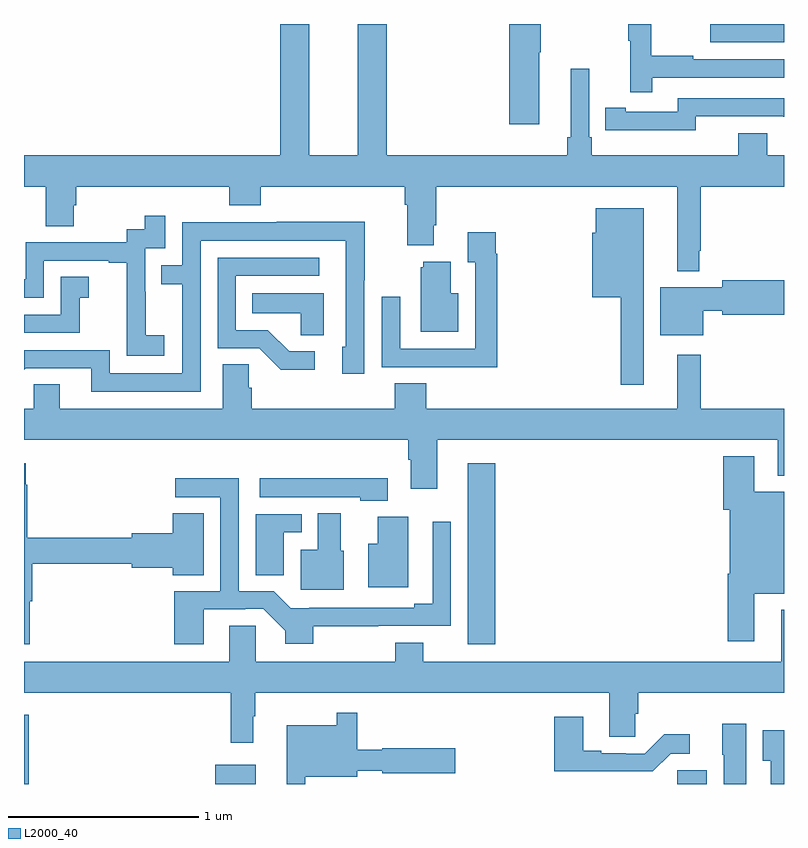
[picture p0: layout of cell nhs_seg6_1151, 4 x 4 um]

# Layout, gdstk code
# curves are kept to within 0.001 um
import gdstk
lib = gdstk.Library(unit=1e-6, precision=1e-09)
def R(c, l, rs):  # rectangles x0, y0, x1, y1
    for r in rs: c.add(gdstk.rectangle(r[:2], r[2:], *l))
def P(c, l, *ps):  # polygons
    for p in ps: c.add(gdstk.Polygon(p, *l))
L2000_40 = (2000, 40)

nhs_seg6_1151 = lib.new_cell('nhs_seg6_1151')
R(nhs_seg6_1151, L2000_40, [(181,969.5,181.024,969.865), (182.006,969.5,182.221,969.601), (184.438,969.5,184.594,969.573), (183.335,970.236,183.479,971.188), (184.611,973.403,185,973.5)])
P(nhs_seg6_1151, L2000_40, [(184.307,973.218),(185,973.218),(185,973.314),(184.523,973.314),(184.523,973.334),(184.3,973.334),(184.3,973.5),(184.179,973.5),(184.179,973.411),(184.19,973.411),(184.19,973.14),(184.307,973.14)],
  [(183.712,973.351),(183.72,973.351),(183.72,973.5),(183.554,973.5),(183.554,972.972),(183.712,972.972)],
  [(184.554,972.307),(184.561,972.307),(184.561,972.644),(185,972.644),(185,972.808),(184.913,972.808),(184.913,972.925),(184.76,972.925),(184.76,972.808),(183.989,972.808),(183.989,972.904),(183.975,972.904),(183.975,973.264),(183.878,973.264),(183.878,972.904),(183.859,972.904),(183.859,972.808),(182.909,972.808),(182.909,973.5),(182.756,973.5),(182.756,972.808),(182.5,972.808),(182.5,973.5),(182.348,973.5),(182.348,972.808),(181,972.808),(181,972.644),(181.114,972.644),(181.114,972.436),(181.261,972.436),(181.261,972.546),(181.274,972.546),(181.274,972.644),(182.081,972.644),(182.081,972.545),(182.246,972.545),(182.246,972.644),(183.005,972.644),(183.005,972.548),(183.017,972.548),(183.017,972.335),(183.157,972.335),(183.157,972.442),(183.17,972.442),(183.17,972.644),(184.439,972.644),(184.439,972.2),(184.554,972.2)],
  [(184.536,973.014),(184.996,973.014),(184.996,973.013),(185,973.013),(185,973.11),(184.44,973.11),(184.44,973.038),(184.168,973.038),(184.168,973.058),(184.06,973.058),(184.06,972.942),(184.168,972.942),(184.168,972.941),(184.536,972.941)],
  [(184.261,972.529),(184.01,972.529),(184.01,972.402),(183.992,972.402),(183.992,972.062),(184.14,972.062),(184.14,971.601),(184.261,971.601)],
  [(181.738,971.863),(181.64,971.863),(181.64,972.092),(181.638,972.092),(181.638,972.321),(181.743,972.321),(181.743,972.49),(181.635,972.49),(181.635,972.42),(181.542,972.42),(181.542,972.351),(181.008,972.351),(181.008,972.156),(181,972.156),(181,972.06),(181.104,972.06),(181.104,972.255),(181.445,972.255),(181.445,972.243),(181.541,972.243),(181.541,971.959),(181.54,971.959),(181.54,971.753),(181.738,971.753)],
  [(181.929,972.36),(182.694,972.36),(182.694,971.802),(182.675,971.802),(182.675,971.658),(182.79,971.658),(182.79,972.151),(182.793,972.151),(182.793,972.458),(182.329,972.458),(182.329,972.456),(181.833,972.456),(181.833,972.231),(181.723,972.231),(181.723,972.13),(181.833,972.13),(181.833,971.661),(181.452,971.661),(181.452,971.784),(181,971.784),(181,971.68),(181.008,971.688),(181.355,971.688),(181.355,971.565),(181.929,971.565)],
  [(183.491,972.29),(183.484,972.29),(183.484,972.403),(183.335,972.403),(183.335,972.247),(183.375,972.247),(183.375,971.79),(182.979,971.79),(182.979,972.064),(182.883,972.064),(182.883,971.694),(183.199,971.694),(183.199,971.693),(183.491,971.693)],
  [(182.53,971.778),(182.395,971.778),(182.284,971.889),(182.115,971.889),(182.115,972.174),(182.554,972.174),(182.554,972.27),(182.019,972.27),(182.019,971.793),(182.238,971.793),(182.351,971.681),(182.53,971.681)],
  [(183.286,972.082),(183.247,972.082),(183.247,972.25),(183.101,972.25),(183.101,972.219),(183.089,972.219),(183.089,971.879),(183.286,971.879)],
  [(181.293,972.059),(181.342,972.059),(181.342,972.169),(181.194,972.169),(181.194,971.97),(181,971.97),(181,971.874),(181.293,971.874)],
  [(184.576,971.992),(184.676,971.992),(184.676,971.969),(185,971.969),(185,972.152),(184.676,972.152),(184.676,972.115),(184.349,972.115),(184.349,971.861),(184.576,971.861)],
  [(182.578,972.082),(182.2,972.082),(182.2,971.978),(182.457,971.978),(182.457,971.863),(182.578,971.863)],
  [(183.175,971.312),(184.967,971.312),(184.967,971.122),(185,971.122),(185,971.476),(184.561,971.476),(184.561,971.758),(184.439,971.758),(184.439,971.476),(183.116,971.476),(183.116,971.609),(182.951,971.609),(182.951,971.476),(182.198,971.476),(182.198,971.585),(182.184,971.585),(182.184,971.708),(182.045,971.708),(182.045,971.476),(181.189,971.476),(181.189,971.603),(181.05,971.603),(181.05,971.476),(181,971.476),(181,971.312),(183.023,971.312),(183.023,971.206),(183.035,971.206),(183.035,971.055),(183.175,971.055)],
  [(184.843,970.502),(185,970.502),(185,971.037),(184.843,971.037),(184.843,971.224),(184.679,971.224),(184.679,970.944),(184.715,970.944),(184.715,970.606),(184.703,970.606),(184.703,970.251),(184.843,970.251)],
  [(181.03,970.461),(181.043,970.461),(181.043,970.66),(181.568,970.66),(181.568,970.637),(181.784,970.637),(181.784,970.6),(181.945,970.6),(181.945,970.925),(181.784,970.925),(181.784,970.82),(181.568,970.82),(181.568,970.796),(181.016,970.796),(181.016,971.075),(181.009,971.075),(181.009,971.188),(181,971.188),(181,970.235),(181.03,970.235)],
  [(182.914,971.11),(182.241,971.11),(182.241,971.009),(182.769,971.009),(182.769,970.991),(182.914,970.991)],
  [(181.945,970.419),(182.165,970.419),(182.165,970.422),(182.259,970.422),(182.375,970.306),(182.375,970.238),(182.523,970.238),(182.523,970.331),(183.246,970.332),(183.246,970.879),(183.15,970.879),(183.15,970.448),(183.053,970.448),(183.053,970.428),(182.5,970.428),(182.5,970.425),(182.404,970.425),(182.314,970.515),(182.13,970.515),(182.13,971.108),(181.797,971.108),(181.797,971.01),(182.034,971.01),(182.034,970.515),(181.79,970.515),(181.79,970.236),(181.945,970.236)],
  [(182.683,970.728),(182.668,970.728),(182.668,970.924),(182.546,970.924),(182.546,970.732),(182.456,970.732),(182.456,970.523),(182.683,970.523)],
  [(182.368,970.824),(182.461,970.824),(182.461,970.92),(182.219,970.92),(182.219,970.6),(182.368,970.6)],
  [(183.022,970.906),(182.861,970.906),(182.861,970.765),(182.813,970.765),(182.813,970.535),(183.022,970.535)],
  [(183.1,970.243),(182.953,970.243),(182.953,970.144),(182.22,970.144),(182.22,970.334),(182.081,970.334),(182.081,970.144),(181,970.144),(181,969.98),(182.089,969.98),(182.089,969.717),(182.206,969.717),(182.206,969.857),(182.218,969.857),(182.218,969.98),(184.079,969.98),(184.079,969.748),(184.218,969.748),(184.218,969.87),(184.232,969.87),(184.232,969.98),(185,969.98),(185,970.417),(184.985,970.417),(184.985,970.144),(183.1,970.144)],
  [(182.481,969.539),(182.755,969.539),(182.755,969.57),(182.886,969.57),(182.886,969.557),(183.271,969.557),(183.271,969.687),(182.886,969.687),(182.886,969.679),(182.755,969.679),(182.755,969.874),(182.646,969.874),(182.646,969.808),(182.384,969.808),(182.384,969.5),(182.481,969.5)],
  [(184.404,969.66),(184.504,969.66),(184.504,969.763),(184.369,969.763),(184.266,969.66),(184.166,969.66),(184.166,969.663),(184.039,969.663),(184.039,969.676),(183.943,969.676),(183.943,969.853),(183.791,969.853),(183.791,969.566),(184.309,969.566)],
  [(184.801,969.817),(184.676,969.817),(184.676,969.654),(184.682,969.654),(184.682,969.5),(184.801,969.5)],
  [(185,969.784),(184.889,969.784),(184.889,969.623),(184.929,969.623),(184.929,969.5),(185,969.5)])

lib.write_gds('nhs_seg6_1151.gds')
